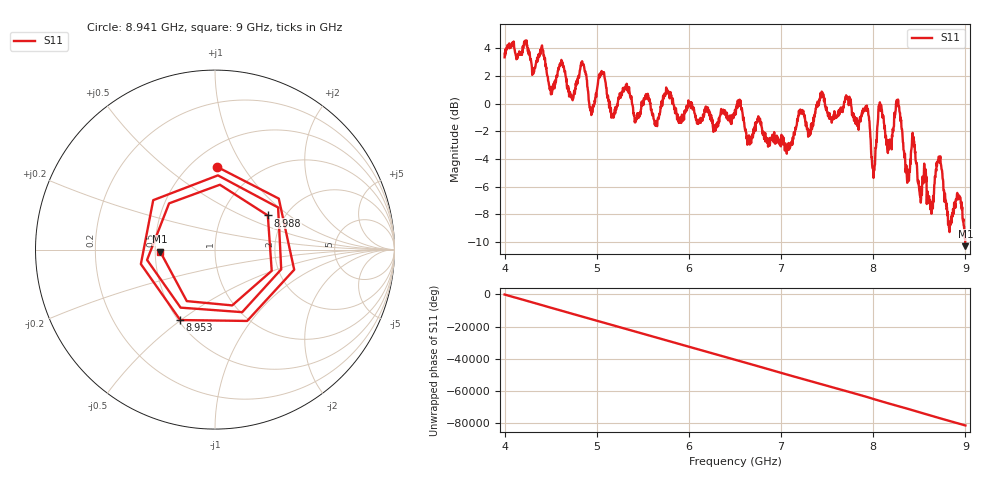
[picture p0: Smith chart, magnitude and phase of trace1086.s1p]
! Created with skrf 1.8.0 (http://scikit-rf.org).
# Hz S RI R 50.0
!freq ReS11 ImS11
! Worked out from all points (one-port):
!   1601 points, 4 GHz to 9 GHz, reference 50 ohm
!   lowest |S11| = -10.3 dB at 9 GHz (marker M1), VSWR 1.88, Z = 26.6 - j0.674 ohm
!   |S11| at or under -10 dB: 8.998487 GHz to end of sweep
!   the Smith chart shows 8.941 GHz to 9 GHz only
!   S11 on the Smith chart (normalised r, x): 8.941 GHz: 0.66, +0.77; 8.953 GHz: 0.51, -0.50; 8.988 GHz: 1.64, +0.71; 9 GHz: 0.53, -0.01
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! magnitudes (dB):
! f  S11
! 4 GHz  3.4
! 4.506 GHz  0.8
! 4.625 GHz  2.9
! 4.725 GHz  0.6
! 4.85 GHz  2.8
! 4.941 GHz  -0.8
! 5.053 GHz  2.4
! 5.169 GHz  -0.9
! 5.25 GHz  0.8
! 5.875 GHz  -0.7
! 6.5 GHz  -0.4
! 7.125 GHz  -2.5
! 7.438 GHz  0.5
! 7.75 GHz  0.1
! 7.934 GHz  -0.5
! 8.003 GHz  -5.4
! 8.072 GHz  0.1
! 8.175 GHz  -3.0
! 8.266 GHz  0.0
! 8.375 GHz  -5.5
! 8.434 GHz  -2.7
! 8.622 GHz  -7.3
! 8.712 GHz  -3.9
! 8.828 GHz  -9.3
! 8.941 GHz  -6.7
! 8.953 GHz  -7.2
! 8.988 GHz  -9.1
! 9 GHz  -10.3
